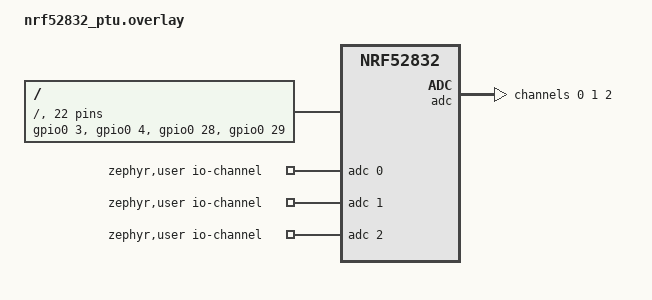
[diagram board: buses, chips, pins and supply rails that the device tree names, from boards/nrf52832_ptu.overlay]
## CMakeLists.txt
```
# SPDX-License-Identifier: Apache-2.0

cmake_minimum_required(VERSION 3.20.0)
find_package(Zephyr REQUIRED HINTS $ENV{ZEPHYR_BASE})
project(observer)

target_sources(app PRIVATE
  src/main.c
  src/observer.c
  src/ADS1115/ADS1115.c
  src/twowire/twowire.c
  src/peripherals/peripherals.c
  src/TPL0401x/TPL0401x.c
  src/adc_update/adc_update.c
  src/advertisement/advertisement.c
)
```

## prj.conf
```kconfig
CONFIG_BT=y
# CONFIG_BT_OBSERVER=y

# Is already enabled in 
# CONFIG_BT_DEBUG_LOG=y

# Disable SMPS (external inductors not soldered)
CONFIG_BOARD_ENABLE_DCDC=n
# Use internal 32k oscillator
CONFIG_CLOCK_CONTROL_NRF_K32SRC_RC=y

# Enable the I²C bus
CONFIG_I2C=y

# *** ADDED from ADC example *** #
CONFIG_ADC=y


# CONFIG_I2C_NRFX=y

# # CONFIG_NRFX_TWI=y
# CONFIG_NRFX_TWI0=y
# CONFIG_NRFX_TWI1=y
```

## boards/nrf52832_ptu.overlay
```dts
// To get started, press Ctrl+Space to bring up the completion menu and view the available nodes.

// You can also use the buttons in the sidebar to perform actions on nodes.
// Actions currently available include:

// * Enabling / disabling the node
// * Adding the bus to a bus
// * Removing the node
// * Connecting ADC channels

// For more help, browse the DeviceTree documentation at https://docs.zephyrproject.org/latest/guides/dts/index.html
// You can also visit the nRF DeviceTree extension documentation at https://nrfconnect.github.io/vscode-nrf-connect/devicetree/nrfdevicetree.html

/ {
	zephyr,user {
		io-channels = <&adc 0>, <&adc 1>, <&adc 2>;//, <&adc 3>, <&adc 4>, <&adc 5>, <&adc 6>;// <&adc 7>;
	};

	gpio-map = <0 0 &gpio0 3 0>,
			   <1 0 &gpio0 4 0>,
			   <2 0 &gpio0 28 0>,
			   <3 0 &gpio0 29 0>,
			   <4 0 &gpio0 30 0>,
			   <5 0 &gpio0 31 0>,
			   <6 0 &gpio0 11 0>,
			   <7 0 &gpio0 12 0>,
			   <8 0 &gpio0 13 0>,
			   <9 0 &gpio0 14 0>,
			   <10 0 &gpio0 15 0>,
			   <11 0 &gpio0 16 0>,
			   <12 0 &gpio0 17 0>,
			   <13 0 &gpio0 18 0>,
			   <14 0 &gpio0 19 0>,
			   <15 0 &gpio0 20 0>,
			   <16 0 &gpio0 22 0>,
			   <17 0 &gpio0 23 0>,
			   <18 0 &gpio0 24 0>,
			   <19 0 &gpio0 25 0>,
			   <20 0 &gpio0 26 0>,
			   <21 0 &gpio0 27 0>;
	io-channel-map = <0 &adc 1>, <1 &adc 2>, <2 &adc 4>, <3 &adc 5>, <4 &adc 6>, <5 &adc 7>;
};

&adc {
	#address-cells = <1>;
	#size-cells = <0>;

	channel@0 {
		reg = <0>;
		zephyr,gain = "ADC_GAIN_1_6";
		zephyr,reference = "ADC_REF_INTERNAL";
		zephyr,acquisition-time = <ADC_ACQ_TIME_DEFAULT>;
		zephyr,input-positive = <NRF_SAADC_AIN0>; /* P0.03 */
		zephyr,resolution = <12>;
	};

	channel@1 {
		reg = <1>;
		zephyr,gain = "ADC_GAIN_1_6";
		zephyr,reference = "ADC_REF_INTERNAL";
		zephyr,acquisition-time = <ADC_ACQ_TIME_DEFAULT>;
		zephyr,input-positive = <NRF_SAADC_AIN5>; /* P0.29 */
		zephyr,resolution = <12>;
	};

	channel@2 {
		reg = <2>;
		zephyr,gain = "ADC_GAIN_1_6";
		zephyr,reference = "ADC_REF_INTERNAL";
		zephyr,acquisition-time = <ADC_ACQ_TIME_DEFAULT>;
		zephyr,input-positive = <NRF_SAADC_AIN6>; /* P0.30 */
		zephyr,resolution = <12>;
	};

};
```

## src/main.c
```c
/*
 * Copyright (c) 2022 Nordic Semiconductor ASA
 *
 * SPDX-License-Identifier: Apache-2.0
 */

#include <zephyr/sys/printk.h>
#include <zephyr/bluetooth/bluetooth.h>
#include <zephyr/drivers/gpio.h>

#include <zephyr/device.h>
#include <zephyr/devicetree.h>
#include <zephyr/drivers/i2c.h>
// #include <stderr.h>
#include <stdint.h>
#include <stddef.h>

#include "stdio.h"

#include "peripherals/peripherals.h"

#include "advertisement/advertisement.h"

// verplaatsen naar peripherals!!!
#include "adc_update/adc_update.h"

int observer_start(void);

#define LED0_NODE DT_ALIAS(usrled0)	// The devicetree node identifier for the "led0" alias.
// #define LED0_NODE DT_ALIAS(led0)	// The devicetree node identifier for the "led0" alias.


/* STATIC constants */
static const struct gpio_dt_spec led = GPIO_DT_SPEC_GET(LED0_NODE, gpios);

// static int16_t read_channel(uint8_t channel);

extern int16_t channel_voltage [4];

extern int16_t uav_battery_voltage_mv;
extern int16_t uav_current_ma;
extern int16_t pre_reg_input_current_ma;
extern int16_t pre_reg_output_current_ma; 

/* size of stack area used by each thread */
#define STACKSIZE 1024

/* scheduling priority used by each thread */
#define ADC_PRIORITY 8
#define ADV_PRIORITY 7

// *** START THREADS *** //
K_THREAD_DEFINE(start_adc_read_id, STACKSIZE, adc_read_start, NULL, NULL, NULL, ADC_PRIORITY, 0, 0);
K_THREAD_DEFINE(start_adv_id, STACKSIZE, adv_start, NULL, NULL, NULL, ADV_PRIORITY, 0, 0);


extern int16_t three_volt_supply_voltage_mv;
extern int16_t five_volt_supply_voltage_mv;
extern int16_t vamp_supply_voltage_mv;

int main(void)
{
	int err;

	gpio_pin_configure_dt(&led, GPIO_OUTPUT_INACTIVE);		// 

	printk("Start");

	gpio_pin_set_dt(&led, 1);

	/* Initialize the Bluetooth Subsystem */
	err = bt_enable(NULL);
	if (err) {
		printk("Bluetooth init failed (err %d)\n", err);
		return 0;
	}

	
	// gpio_pin_configure_dt(&led, GPIO_OUTPUT_INACTIVE);

	
	gpio_pin_toggle_dt(&led);

    // Start observer *** CURRENTLY DISABLE OBSERVER ***
	// (void)observer_start();

    // Init peripherals (ADS and programmable load)
    perihperals_init();

	// Set prereg on 10V
	peripherals_set_pre_reg_voltage(8000);

	while (1)
	{
		gpio_pin_toggle_dt(&led);
		k_msleep(500);

        peripherals_update_all_ads1115_channels();

		printk("\n");
		printk("uav_battery_voltage_mv: %d\n", uav_battery_voltage_mv);
		printk("uav_current_ma: %d\n", uav_current_ma);
		printk("pre_reg_input_current_ma: %d\n", pre_reg_input_current_ma);
		printk("pre_reg_output_current_ma: %d\n", pre_reg_output_current_ma);

		printk("three_volt_supply_voltage_mv: %d\n", three_volt_supply_voltage_mv);
		printk("five_volt_supply_voltage_mv: %d\n", five_volt_supply_voltage_mv);
		printk("vamp_supply_voltage_mv: %d\n", vamp_supply_voltage_mv);

        // for(int i = 0; i < ADS1115_NUMBER_OF_CHANNELS; i++){
        //     //printk("Channel %d: %d mV\n", i, channel_voltage[i]);

		// 	printk("Res %d: %d mV\n", i, channel_result [i]);
		// }

        // test res
        // TPL0401x_update_resistance(100);

        // peripherals_set_pre_reg_voltage(10000);
        
        // k_msleep(2000);
        
        // peripherals_set_pre_reg_voltage(5000);

        // test res
        // TPL0401x_update_resistance(25);

	}


	printk("Exiting %s thread.\n", __func__);
	return 0;
}
```

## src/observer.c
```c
/*
 * Copyright (c) 2022 Nordic Semiconductor ASA
 * Copyright (c) 2015-2016 Intel Corporation
 *
 * SPDX-License-Identifier: Apache-2.0
 */

#include <zephyr/sys/printk.h>
#include <zephyr/bluetooth/bluetooth.h>
#include <zephyr/bluetooth/hci.h>
// #include <bluetooth/scan.h>

#define NAME_LEN 30

#define RX_DEVICE_NAME "wpt-receiver"

uint16_t input_voltage_mv;
uint16_t supply_voltage_mv;
uint16_t buck_current_ma;

static void extract_data(uint8_t *buffer, uint8_t len){
	input_voltage_mv = *(buffer + 17) << 8 | *(buffer + 18);
	supply_voltage_mv = *(buffer + 19) << 8 | *(buffer + 20);
	buck_current_ma = *(buffer + 21) << 8 | *(buffer + 22);
}

static void print_buffer(uint8_t *buffer, uint8_t len){
	// Print full message
	for (size_t i = 0; i < len; i++) {
        printk("%02X ", *(buffer + i));
    }
	printk("\n");	
}

static void device_found(const bt_addr_le_t *addr, int8_t rssi, uint8_t type,
			 struct net_buf_simple *ad)
{
	char addr_str[BT_ADDR_LE_STR_LEN];

	// Desired - buffer name rx adv
	char ds_name_buffer [] = RX_DEVICE_NAME;
	uint8_t buffer_cmp_len = sizeof(ds_name_buffer) - 1;

	// Scanned - buffer name rx adv
	char sc_name_buffer [buffer_cmp_len];
	memcpy(sc_name_buffer, ad->data + 2, buffer_cmp_len);
	
	// Print buffers to check similarity
	// print_buffer(ds_name_buffer, buffer_cmp_len);
	// print_buffer(sc_name_buffer, buffer_cmp_len);

	// Compare both buffer
	int result = memcmp(ds_name_buffer, sc_name_buffer, buffer_cmp_len);

	if(result == 0){
		bt_addr_le_to_str(addr, addr_str, sizeof(addr_str));
		printk("Device found: %s (RSSI %d), type %u, AD data len %u\n",
			addr_str, rssi, type, ad->len);

		print_buffer(ad->data, ad->len);

		extract_data(ad->data, ad->len);

		printk("input_voltage_mv: %"PRId32" mV\n", input_voltage_mv);
		printk("supply_voltage_mv: %"PRId32" mV\n", supply_voltage_mv);
		printk("buck_current_ma: %"PRId32" mA\n", buck_current_ma);
	}
}


int observer_start(void)
{
	struct bt_le_scan_param scan_param = {
		.type       = BT_LE_SCAN_TYPE_PASSIVE,
		.options    = BT_LE_SCAN_OPT_FILTER_DUPLICATE,
		.interval   = BT_GAP_SCAN_FAST_INTERVAL,
		.window     = BT_GAP_SCAN_FAST_WINDOW,
	};
	int err;


	// while(1){
	err = bt_le_scan_start(&scan_param, device_found);
	if (err) {
		printk("Start scanning failed (err %d)\n", err);
		return err;
	}
	printk("Started scanning...\n");

	// 	k_msleep(10);

	// 	bt_le_scan_stop();

	// 	k_msleep(1000);
	// }

	return 0;
}
```
